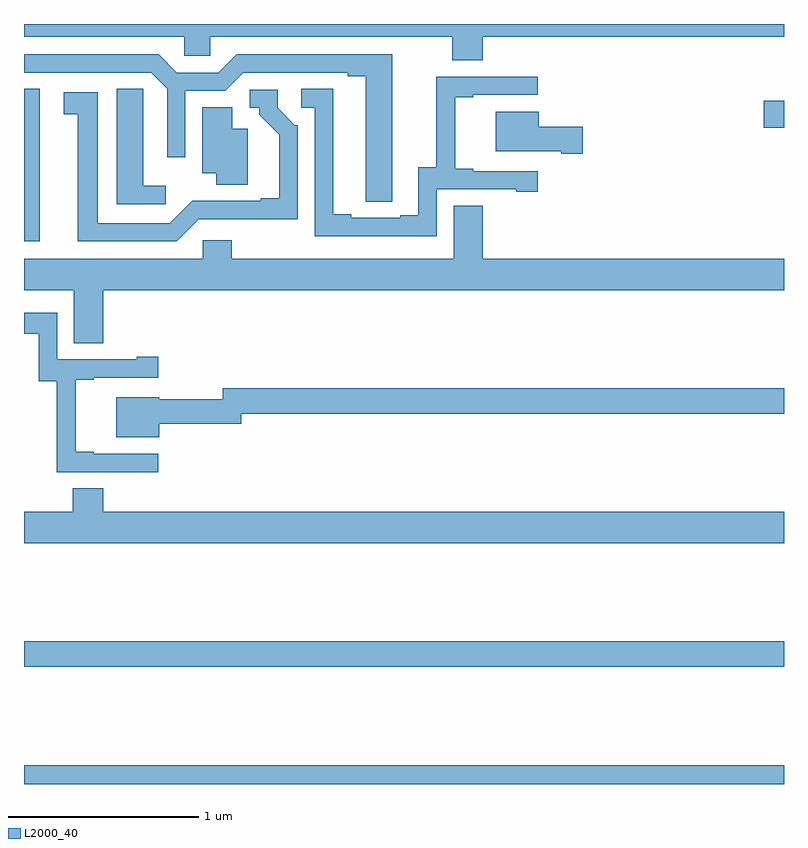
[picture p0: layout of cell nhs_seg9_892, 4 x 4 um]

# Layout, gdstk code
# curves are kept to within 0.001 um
import gdstk
lib = gdstk.Library(unit=1e-6, precision=1e-09)
def R(c, l, rs):  # rectangles x0, y0, x1, y1
    for r in rs: c.add(gdstk.rectangle(r[:2], r[2:], *l))
def P(c, l, *ps):  # polygons
    for p in ps: c.add(gdstk.Polygon(p, *l))
L2000_40 = (2000, 40)

nhs_seg9_892 = lib.new_cell('nhs_seg9_892')
R(nhs_seg9_892, L2000_40, [(159,1180.5,163,1180.6), (159,1181.116,163,1181.252), (159,1183.356,159.082,1184.158), (162.894,1183.955,163,1184.097)])
P(nhs_seg9_892, L2000_40, [(159,1184.432),(159.843,1184.432),(159.843,1184.334),(159.981,1184.334),(159.981,1184.432),(161.254,1184.432),(161.254,1184.308),(161.414,1184.308),(161.414,1184.432),(163,1184.432),(163,1184.5),(159,1184.5)],
  [(160.938,1183.672),(160.939,1184.34),(160.119,1184.34),(160.023,1184.244),(159.805,1184.244),(159.709,1184.34),(159,1184.34),(159,1184.244),(159.669,1184.244),(159.753,1184.16),(159.753,1183.8),(159.849,1183.8),(159.849,1184.148),(160.059,1184.148),(160.155,1184.244),(160.703,1184.244),(160.703,1184.224),(160.799,1184.224),(160.799,1183.564),(160.938,1183.564)],
  [(161.172,1183.629),(161.591,1183.629),(161.591,1183.617),(161.704,1183.617),(161.704,1183.725),(161.365,1183.725),(161.365,1183.738),(161.27,1183.738),(161.27,1184.115),(161.365,1184.115),(161.365,1184.127),(161.704,1184.127),(161.704,1184.223),(161.17,1184.223),(161.17,1183.745),(161.075,1183.745),(161.075,1183.494),(160.979,1183.494),(160.979,1183.479),(160.723,1183.479),(160.723,1183.499),(160.627,1183.499),(160.627,1184.159),(160.458,1184.159),(160.458,1184.058),(160.53,1184.058),(160.53,1183.383),(161.172,1183.383)],
  [(159.745,1183.648),(159.628,1183.648),(159.628,1184.051),(159.627,1184.051),(159.627,1184.159),(159.488,1184.159),(159.488,1183.551),(159.745,1183.551)],
  [(159.921,1183.473),(160.44,1183.472),(160.44,1183.968),(160.425,1183.968),(160.335,1184.058),(160.335,1184.154),(160.188,1184.154),(160.188,1184.058),(160.238,1184.058),(160.238,1184.023),(160.343,1183.918),(160.343,1183.582),(160.247,1183.582),(160.247,1183.569),(159.886,1183.57),(159.768,1183.452),(159.388,1183.452),(159.388,1184.142),(159.21,1184.142),(159.21,1184.026),(159.284,1184.026),(159.284,1183.356),(159.804,1183.356)],
  [(160.177,1183.948),(160.096,1183.948),(160.096,1184.063),(159.938,1184.063),(159.938,1183.715),(160.013,1183.715),(160.013,1183.654),(160.177,1183.654)],
  [(161.941,1183.959),(161.71,1183.959),(161.71,1184.038),(161.483,1184.038),(161.483,1183.829),(161.828,1183.829),(161.828,1183.817),(161.941,1183.817)],
  [(159.416,1183.1),(163,1183.1),(163,1183.264),(161.414,1183.264),(161.414,1183.544),(161.261,1183.544),(161.261,1183.264),(160.094,1183.264),(160.094,1183.362),(159.942,1183.362),(159.942,1183.264),(159,1183.264),(159,1183.1),(159.263,1183.1),(159.263,1182.82),(159.416,1182.82)],
  [(159.706,1182.237),(159.367,1182.237),(159.367,1182.25),(159.272,1182.25),(159.272,1182.627),(159.367,1182.627),(159.367,1182.639),(159.706,1182.639),(159.706,1182.748),(159.593,1182.748),(159.593,1182.735),(159.174,1182.735),(159.174,1182.981),(159,1182.981),(159,1182.87),(159.077,1182.87),(159.077,1182.619),(159.172,1182.619),(159.172,1182.141),(159.706,1182.141)],
  [(159.712,1182.396),(160.143,1182.396),(160.143,1182.448),(163,1182.448),(163,1182.584),(160.047,1182.584),(160.047,1182.524),(159.712,1182.524),(159.712,1182.535),(159.485,1182.535),(159.485,1182.326),(159.712,1182.326)],
  [(163,1181.932),(159.416,1181.932),(159.416,1182.056),(159.256,1182.056),(159.256,1181.932),(159,1181.932),(159,1181.768),(163,1181.768)])

lib.write_gds('nhs_seg9_892.gds')
